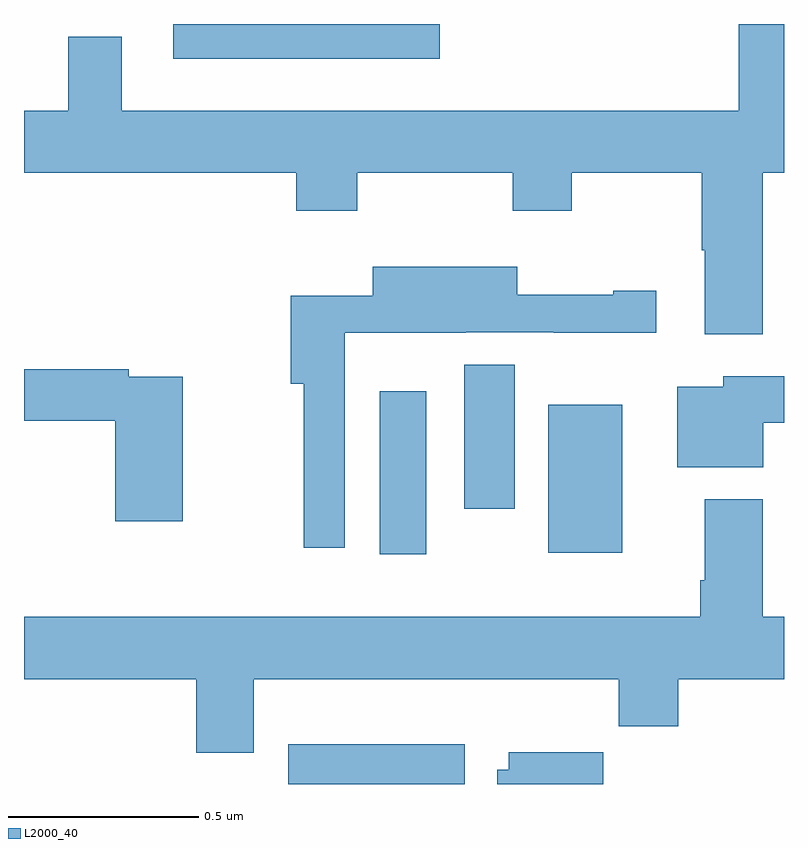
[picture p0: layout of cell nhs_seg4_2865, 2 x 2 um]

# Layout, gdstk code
import gdstk
lib = gdstk.Library(unit=1e-6, precision=1e-09)
def R(c, l, rs):  # rectangles x0, y0, x1, y1
    for r in rs: c.add(gdstk.rectangle(r[:2], r[2:], *l))
def P(c, l, *ps):  # polygons
    for p in ps: c.add(gdstk.Polygon(p, *l))
L2000_40 = (2000, 40)

nhs_seg4_2865 = lib.new_cell('nhs_seg4_2865')
R(nhs_seg4_2865, L2000_40, [(146.696,773.9,147.16,774.004), (146.936,774.504,147.058,774.934), (147.38,774.509,147.574,774.898), (147.158,774.624,147.292,775.003), (146.393,775.808,147.094,775.9)])
P(nhs_seg4_2865, L2000_40, [(146.117,775.867),(146.117,775.672),(146,775.672),(146,775.508),(146.717,775.508),(146.717,775.409),(146.877,775.409),(146.877,775.508),(147.286,775.508),(147.286,775.409),(147.441,775.409),(147.441,775.508),(147.784,775.508),(147.784,775.304),(147.791,775.304),(147.791,775.083),(147.944,775.083),(147.944,775.508),(148,775.508),(148,775.9),(147.881,775.9),(147.881,775.672),(146.257,775.672),(146.257,775.867)],
  [(146.844,775.088),(147.162,775.088),(147.162,775.089),(147.394,775.089),(147.394,775.088),(147.664,775.088),(147.664,775.198),(147.551,775.198),(147.551,775.188),(147.298,775.188),(147.298,775.261),(146.918,775.261),(146.918,775.185),(146.702,775.185),(146.702,774.953),(146.736,774.953),(146.736,774.522),(146.844,774.522)],
  [(146.418,774.972),(146.276,774.972),(146.276,774.992),(146,774.992),(146,774.856),(146.24,774.856),(146.24,774.591),(146.418,774.591)],
  [(147.946,774.851),(148,774.851),(148,774.973),(147.84,774.973),(147.84,774.946),(147.719,774.946),(147.719,774.734),(147.946,774.734)],
  [(146.605,774.176),(147.565,774.176),(147.565,774.052),(147.722,774.052),(147.722,774.176),(148,774.176),(148,774.34),(147.944,774.34),(147.944,774.649),(147.791,774.649),(147.791,774.436),(147.779,774.436),(147.779,774.34),(146,774.34),(146,774.176),(146.453,774.176),(146.453,773.982),(146.605,773.982)],
  [(147.524,773.983),(147.275,773.983),(147.275,773.938),(147.245,773.938),(147.245,773.9),(147.524,773.9)])

lib.write_gds('nhs_seg4_2865.gds')
